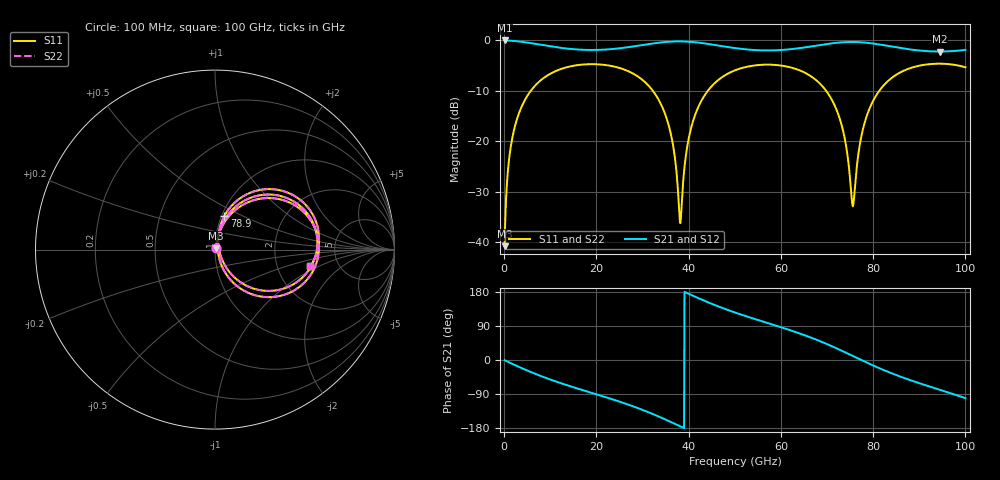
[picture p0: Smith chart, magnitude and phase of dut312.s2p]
! Touchstone file exported from HFSS 2026.1.0
!  File:  C:/ffzhzh/LocalFiles/Ansys_Project_Files/temp_train_TSV_RDL_312_1783698903_45496.aedt
!  Generated:  12:03:16 AM Jul 11, 2026
!  Design:  TSV_RDL
!  Project:  temp_train_TSV_RDL_312_1783698903_45496
! Variables:
!  h_bsmrdl = 3.75um
!  h_ox = 20um
!  h_rdl = 5um
!  h_sub = 76um
!  h_tmrdl = 4.73um
!  h_tsv = 76um
!  h_via = 3um
!  l_bsmrdl = 164.09um
!  l_sub = 1485.24um
!  l_tmrdl = 121.1um
!  m_sub = 200um
!  pitch = 58.33um
!  r_tsv = 7.1um
!  s_tmrdl = 10um
!  w_bsmrdl = 19.06um
!  w_sub = 500um
!  w_tmrdl = 17.13um
!  x_tsv_center1 = 129.665um
!  x_tsv_center2 = 312.815um
!  x_tsv_center3 = 451.045um
!  x_tsv_center4 = 634.195um
!  x_tsv_center5 = 772.425um
!  x_tsv_center6 = 955.575um
# GHz S MA R 50.000000
! Terminal data exported
! Port[1] = TM_RDL1_1_T1
! Port[2] = TM_RDL5_1_T1
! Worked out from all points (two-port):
!   1000 points, 100 MHz to 100 GHz, reference 50 ohm
!   highest |S21| = -0.06 dB at 100 MHz (marker M1); lowest = -2.2 dB at 94.4 GHz (marker M2)
!   |S21| within 3 dB of the highest: start of sweep to end of sweep
!   lowest |S11| = -40.7 dB at 100 MHz (marker M3), VSWR 1.02, Z = 50.7 + j0.645 ohm
!   |S11| at or under -10 dB: start of sweep to 5.787 GHz; 32.23 GHz to 44.17 GHz (11.94 GHz wide, 31.3 % of centre); 69.8 GHz to 81.34 GHz (11.55 GHz wide, 15.3 % of centre)
!   |S22| runs from -40.7 to -4.7 dB; largest |S21 - S12| = 1.7e-14
!   S11 on the Smith chart (normalised r, x): 100 MHz: 1.01, +0.01; 78.9 GHz: 1.03, +0.40; 100 GHz: 3.10, -0.81
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0.1  0.009183 43.9  0.9934 -0.6  0.9934 -0.6  0.009183 43.9
! Gamma 0 0 0 0
! Port Impedance 50 0 50 0
1.5  0.09207 76.0  0.9872 -8.7  0.9872 -8.7  0.09207 76.0
4.1  0.236 64.0  0.9597 -23.0  0.9597 -23.0  0.236 64.0
9.1  0.4394 40.4  0.8826 -47.6  0.8826 -47.6  0.4394 40.4
16.8  0.5728 10.0  0.8043 -78.7  0.8043 -78.7  0.5728 10.0
26.8  0.4958 -27.3  0.851 -117.2  0.851 -117.2  0.4958 -27.3
33.4  0.2621 -56.5  0.9422 -148.6  0.9422 -148.6  0.2621 -56.5
36.3  0.1092 -67.4  0.9682 -164.4  0.9682 -164.4  0.1093 -67.4
38.2  0.01548 8.7  0.9724 -175.1  0.9724 -175.1  0.01544 8.5
39.8  0.09469 75.7  0.9669 175.9  0.9669 175.9  0.09463 75.7
41.7  0.198 70.3  0.9508 165.4  0.9508 165.4  0.1979 70.3
50.1  0.5041 33.5  0.8343 125.1  0.8343 125.1  0.504 33.5
58.5  0.5702 1.9  0.7932 92.3  0.7932 92.3  0.5701 2.0
66.7  0.4339 -30.4  0.8689 58.3  0.8689 58.3  0.4339 -30.4
72.5  0.1815 -55.5  0.9458 28.4  0.9458 28.4  0.1816 -55.4
74  0.09762 -57.6  0.9563 19.8  0.9563 19.8  0.09767 -57.5
75.6  0.02274 10.1  0.9597 10.6  0.9597 10.6  0.02285 10.1
77.3  0.1038 77.5  0.9537 0.7  0.9537 0.7  0.1038 77.5
78.9  0.1935 74.5  0.9397 -8.4  0.9397 -8.4  0.1935 74.5
83.4  0.4012 54.8  0.875 -32.1  0.875 -32.1  0.4012 54.9
94.4  0.5854 11.2  0.7721 -78.4  0.7721 -78.4  0.5853 11.3
100  0.5391 -9.9  0.8015 -100.7  0.8015 -100.7  0.539 -9.9
